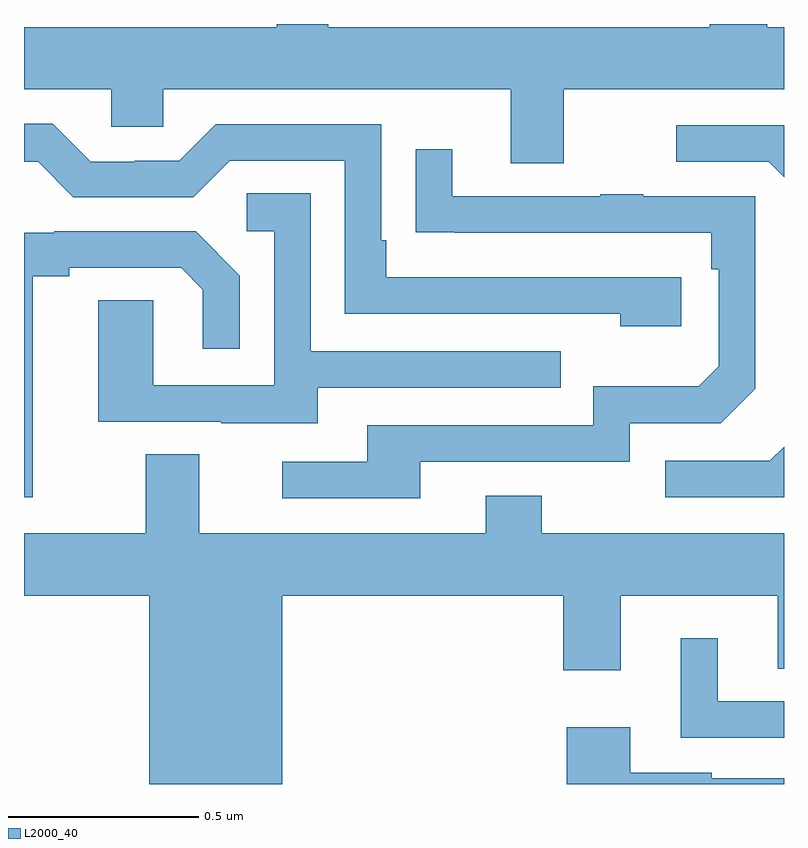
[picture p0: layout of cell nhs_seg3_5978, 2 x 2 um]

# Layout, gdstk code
import gdstk
lib = gdstk.Library(unit=1e-6, precision=1e-09)
def P(c, l, *ps):  # polygons
    for p in ps: c.add(gdstk.Polygon(p, *l))
L2000_40 = (2000, 40)

nhs_seg3_5978 = lib.new_cell('nhs_seg3_5978')
P(nhs_seg3_5978, L2000_40, [(186.421,722.228),(187,722.228),(187,722.392),(186.956,722.392),(186.956,722.4),(186.805,722.4),(186.805,722.392),(185.801,722.392),(185.801,722.4),(185.665,722.4),(185.665,722.392),(185,722.392),(185,722.228),(185.229,722.228),(185.229,722.13),(185.367,722.13),(185.367,722.228),(186.281,722.228),(186.281,722.034),(186.421,722.034)],
  [(186.73,721.734),(185.953,721.734),(185.953,721.831),(185.94,721.831),(185.94,722.136),(185.505,722.136),(185.409,722.04),(185.291,722.04),(185.291,722.037),(185.175,722.037),(185.075,722.137),(185,722.137),(185,722.037),(185.037,722.037),(185.13,721.944),(185.445,721.944),(185.541,722.04),(185.844,722.04),(185.844,721.638),(186.569,721.638),(186.569,721.604),(186.73,721.604)],
  [(187,722.133),(186.717,722.133),(186.717,722.037),(186.96,722.037),(187,721.997)],
  [(186.043,721.248),(186.594,721.248),(186.594,721.35),(186.834,721.35),(186.924,721.44),(186.924,721.947),(186.629,721.947),(186.629,721.952),(186.517,721.952),(186.517,721.947),(186.127,721.947),(186.127,722.071),(186.031,722.071),(186.031,721.852),(186.133,721.852),(186.133,721.851),(186.808,721.851),(186.808,721.754),(186.828,721.754),(186.828,721.5),(186.775,721.447),(186.498,721.447),(186.498,721.344),(185.903,721.344),(185.903,721.248),(185.679,721.248),(185.679,721.152),(186.043,721.152)],
  [(185.773,721.443),(186.413,721.443),(186.413,721.539),(185.754,721.539),(185.754,721.955),(185.586,721.955),(185.586,721.854),(185.658,721.854),(185.658,721.449),(185.34,721.449),(185.34,721.673),(185.195,721.673),(185.195,721.353),(185.519,721.353),(185.519,721.349),(185.773,721.349)],
  [(185.023,721.736),(185.119,721.736),(185.119,721.758),(185.414,721.758),(185.471,721.701),(185.471,721.545),(185.568,721.545),(185.568,721.738),(185.452,721.854),(185.08,721.854),(185.08,721.851),(185,721.851),(185,721.155),(185.023,721.155)],
  [(187,721.288),(186.963,721.251),(186.687,721.251),(186.687,721.155),(187,721.155)],
  [(185.68,720.896),(186.419,720.896),(186.419,720.699),(186.571,720.699),(186.571,720.896),(186.983,720.896),(186.983,720.703),(187,720.703),(187,721.06),(186.363,721.06),(186.363,721.159),(186.215,721.159),(186.215,721.06),(185.461,721.06),(185.461,721.268),(185.321,721.268),(185.321,721.06),(185,721.06),(185,720.896),(185.33,720.896),(185.33,720.4),(185.68,720.4)],
  [(187,720.618),(186.826,720.618),(186.826,720.784),(186.728,720.784),(186.728,720.522),(187,720.522)],
  [(187,720.415),(186.81,720.415),(186.81,720.43),(186.595,720.43),(186.595,720.55),(186.428,720.55),(186.428,720.4),(187,720.4)])

lib.write_gds('nhs_seg3_5978.gds')
